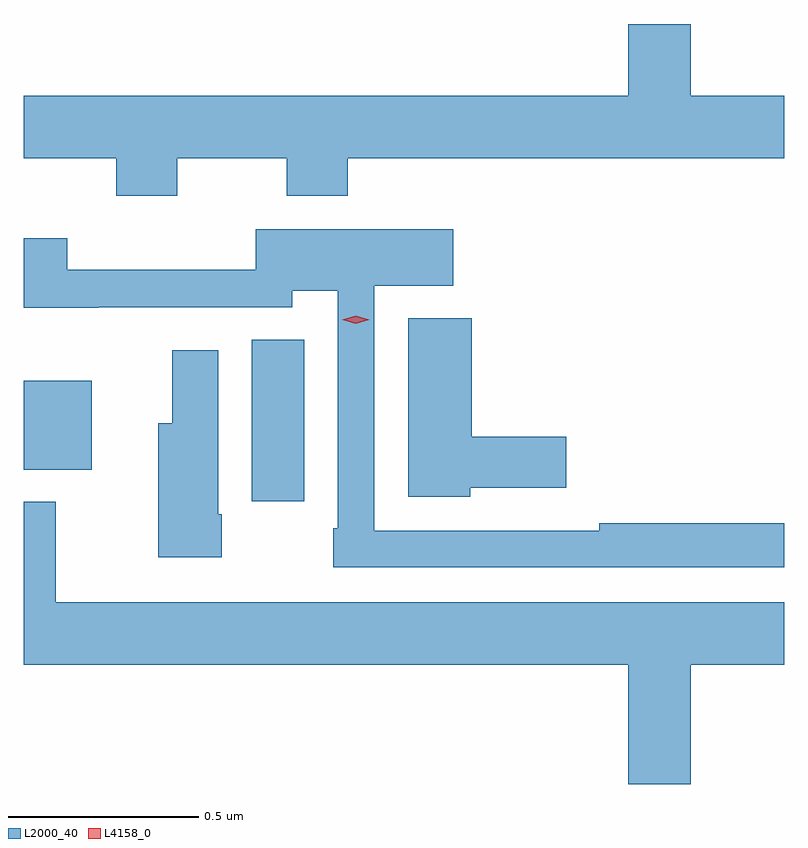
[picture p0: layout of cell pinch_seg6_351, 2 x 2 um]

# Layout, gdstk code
import gdstk
lib = gdstk.Library(unit=1e-6, precision=1e-09)
def R(c, l, rs):  # rectangles x0, y0, x1, y1
    for r in rs: c.add(gdstk.rectangle(r[:2], r[2:], *l))
def P(c, l, *ps):  # polygons
    for p in ps: c.add(gdstk.Polygon(p, *l))
L2000_40 = (2000, 40)
L4158_0 = (4158, 0)

pinch_seg6_351 = lib.new_cell('pinch_seg6_351')
R(pinch_seg6_351, L2000_40, [(703.478,941.106,703.615,941.531), (702.878,941.189,703.057,941.422)])
P(pinch_seg6_351, L2000_40, [(703.281,942.008),(703.57,942.008),(703.57,941.909),(703.73,941.909),(703.73,942.008),(704.878,942.008),(704.878,942.172),(704.632,942.172),(704.632,942.361),(704.468,942.361),(704.468,942.172),(702.878,942.172),(702.878,942.008),(703.121,942.008),(703.121,941.909),(703.281,941.909)],
  [(704.878,941.048),(704.392,941.048),(704.392,941.028),(703.8,941.028),(703.8,941.672),(704.008,941.672),(704.008,941.821),(703.488,941.821),(703.488,941.714),(702.992,941.714),(702.992,941.797),(702.878,941.797),(702.878,941.615),(703.075,941.615),(703.075,941.616),(703.584,941.616),(703.584,941.66),(703.704,941.66),(703.704,941.035),(703.692,941.035),(703.692,940.932),(704.878,940.932)],
  [(704.052,941.141),(704.305,941.141),(704.305,941.276),(704.056,941.276),(704.056,941.587),(703.889,941.587),(703.889,941.117),(704.052,941.117)],
  [(703.398,941.071),(703.39,941.071),(703.39,941.503),(703.268,941.503),(703.268,941.311),(703.232,941.311),(703.232,940.959),(703.398,940.959)],
  [(704.632,940.676),(704.878,940.676),(704.878,940.84),(702.962,940.84),(702.962,941.104),(702.878,941.104),(702.878,940.676),(704.468,940.676),(704.468,940.362),(704.632,940.362)])
P(pinch_seg6_351, L4158_0, [(703.751,941.573),(703.716,941.583),(703.716,941.583),(703.716,941.583),(703.751,941.593),(703.786,941.583),(703.786,941.583),(703.786,941.583)])

lib.write_gds('pinch_seg6_351.gds')
